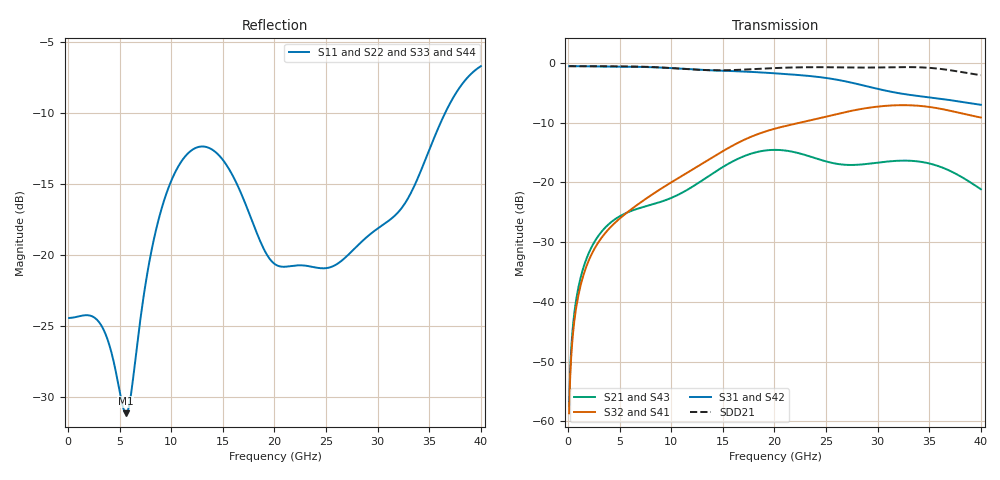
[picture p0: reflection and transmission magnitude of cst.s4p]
! E_s8_L1L8_p1000_round_g4: pair L1→L8, pitch 1 mm, two round antipads, 4 GND vias
! stackup: 8-layer 1.6 mm FR-4 (generic)
! ports: 1 P near, 2 N near, 3 P far, 4 N far
! CST Studio Suite 2025.5 Release from 2025-05-30, time domain (FIT, hexahedral, PBA), 173376 mesh cells, 45 s
! mesh: {'lpw': 20, 'lpb': 20, 'minstep': 0.0, 'ratio': 20}; ports: port 1 (face); port 2 (face); port 3 (face); port 4 (face)
! interpolated from CST's 1001 samples to the case grid
# Hz S RI R 50
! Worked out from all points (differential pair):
!   400 points, 100 MHz to 40 GHz, reference 50 ohm
!   strongest paths, dB at 100 MHz, 10.1 GHz, 20.1 GHz, 30.1 GHz, 40 GHz:
!     S31: -0.5, -0.9, -1.7, -4.4, -7.0
!     S42: -0.5, -0.9, -1.7, -4.4, -7.0
!     S32: -58.7, -19.9, -11.0, -7.3, -9.1
!     S41: -58.7, -19.9, -11.0, -7.3, -9.1
!     S21: -57.3, -22.5, -14.6, -16.7, -21.1
!     S43: -57.3, -22.5, -14.6, -16.7, -21.1
!   taken as a pair (ports 1,2 in; 3,4 out), SDD21 dB: -0.5, -0.9, -0.9, -0.8, -2.1
!   lowest |S11| = -31.2 dB at 5.6 GHz (marker M1), VSWR 1.06, Z = 50.6 + j2.72 ohm
!   |S11| at or under -10 dB: start of sweep to 36.54 GHz
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1e8  -0.0598 0.00389  0.000299 0.00132  0.939 -0.0356  0.000172 -0.00115
     0.000299 0.00132  -0.0598 0.00389  0.000172 -0.00115  0.939 -0.0356
     0.939 -0.0356  0.000172 -0.00115  -0.0598 0.00389  0.000299 0.00132
     0.000172 -0.00115  0.939 -0.0356  0.000299 0.00132  -0.0598 0.00389
5.6e9  0.00665 0.0269  0.0457 -0.0311  -0.4826 -0.7951  -0.0448 0.0318
       0.0457 -0.0311  0.00665 0.0269  -0.0448 0.0318  -0.4826 -0.7951
       -0.4826 -0.7951  -0.0448 0.0318  0.00665 0.0269  0.0457 -0.0311
       -0.0448 0.0318  -0.4826 -0.7951  0.0457 -0.0311  0.00665 0.0269
1.22e10  0.2304 0.0521  -0.0877 -0.0331  -0.0796 0.8784  0.1282 0.0229
         -0.0877 -0.0331  0.2304 0.0521  0.1282 0.0229  -0.0796 0.8784
         -0.0796 0.8784  0.1282 0.0229  0.2304 0.0521  -0.0877 -0.0331
         0.1282 0.0229  -0.0796 0.8784  -0.0877 -0.0331  0.2304 0.0521
1.64e10  0.0779 -0.1581  -0.0352 0.1526  0.8487 0.0699  0.0207 -0.212
         -0.0352 0.1526  0.0779 -0.1581  0.0207 -0.212  0.8487 0.0699
         0.8487 0.0699  0.0207 -0.212  0.0779 -0.1581  -0.0352 0.1526
         0.0207 -0.212  0.8487 0.0699  -0.0352 0.1526  0.0779 -0.1581
2.03e10  -0.00651 -0.0914  0.1868 0.00745  0.1316 -0.8054  -0.2855 0.000943
         0.1868 0.00745  -0.00651 -0.0914  -0.2855 0.000943  0.1316 -0.8054
         0.1316 -0.8054  -0.2855 0.000943  -0.00651 -0.0914  0.1868 0.00743
         -0.2855 0.000943  0.1316 -0.8054  0.1868 0.00743  -0.00651 -0.0914
2.82e10  -0.00539 0.1089  -0.1407 -0.00225  -0.1546 0.6428  0.3999 -0.0851
         -0.1407 -0.00225  -0.00539 0.1089  0.3999 -0.0851  -0.1546 0.6428
         -0.1546 0.6428  0.3999 -0.0851  -0.0054 0.109  -0.1406 -0.00224
         0.3999 -0.0851  -0.1546 0.6428  -0.1406 -0.00224  -0.0054 0.109
4e10  0.246 -0.3902  -0.0751 -0.0452  -0.3509 -0.2757  0.2123 0.2775
      -0.0751 -0.0452  0.246 -0.3902  0.2123 0.2775  -0.3509 -0.2757
      -0.3509 -0.2757  0.2123 0.2775  0.2459 -0.3903  -0.0751 -0.0452
      0.2123 0.2775  -0.3509 -0.2757  -0.0751 -0.0452  0.246 -0.3903
